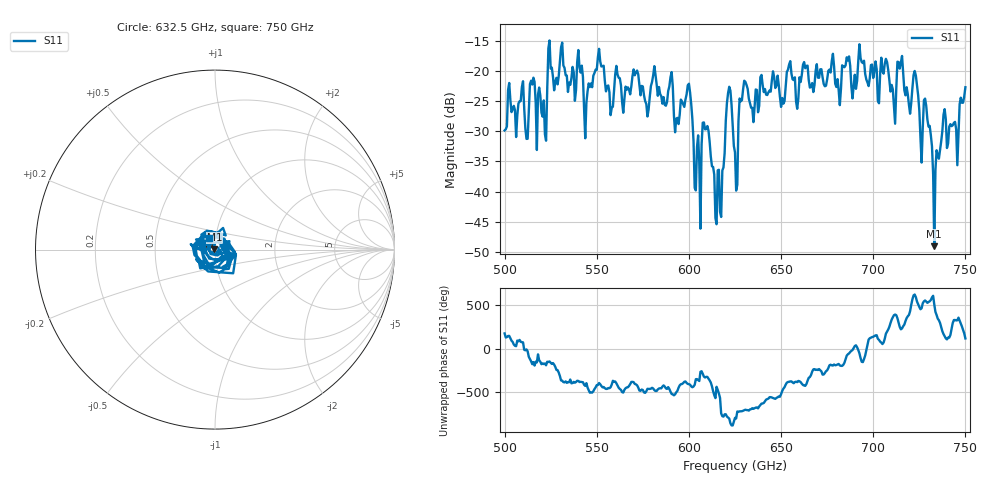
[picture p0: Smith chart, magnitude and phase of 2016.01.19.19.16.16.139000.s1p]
!Created with skrf (http://scikit-rf.org).
# GHz S RI R 50.0
!freq ReS11 ImS11
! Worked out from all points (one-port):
!   401 points, 500 GHz to 750 GHz, reference 50 ohm
!   lowest |S11| = -49.0 dB at 733.1 GHz (marker M1), VSWR 1.01, Z = 49.7 + j0.205 ohm
!   |S11| at or under -10 dB: start of sweep to end of sweep
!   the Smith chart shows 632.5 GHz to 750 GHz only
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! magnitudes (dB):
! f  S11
! 500 GHz  -29.9
! 508.8 GHz  -25.0
! 511.9 GHz  -31.3
! 515 GHz  -22.3
! 521.2 GHz  -24.9
! 524.4 GHz  -15.0
! 531.2 GHz  -15.3
! 544.4 GHz  -25.3
! 550.6 GHz  -17.7
! 562.5 GHz  -21.2
! 590 GHz  -21.0
! 593.8 GHz  -27.8
! 600 GHz  -22.1
! 605 GHz  -30.7
! 608.8 GHz  -29.7
! 616.2 GHz  -36.4
! 621.9 GHz  -22.6
! 625 GHz  -33.5
! 630.6 GHz  -21.8
! 656.2 GHz  -21.4
! 687.5 GHz  -19.1
! 706.9 GHz  -18.0
! 710.6 GHz  -23.1
! 714.4 GHz  -19.6
! 718.8 GHz  -23.9
! 728.8 GHz  -25.8
! 733.1 GHz  -49.0
! 750 GHz  -22.7
